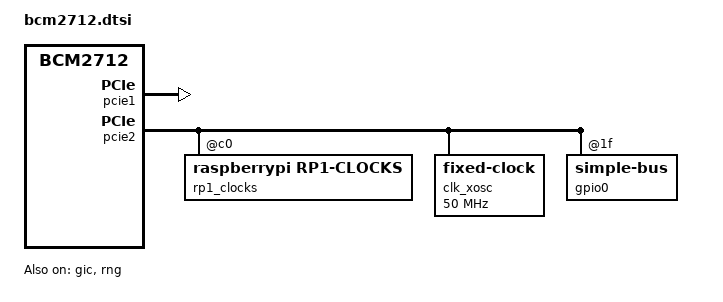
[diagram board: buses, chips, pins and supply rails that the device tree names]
/*
 * Copyright 2024 Myeonghyeon Park <myeonghyeon@tsnlab.com>
 *
 * SPDX-License-Identifier: Apache-2.0
 */

#include <arm64/armv8-a.dtsi>
#include <zephyr/dt-bindings/interrupt-controller/arm-gic.h>
#include <zephyr/dt-bindings/clock/rp1_clocks.h>

/ {
	cpus {
		#address-cells = <1>;
		#size-cells = <0>;

		cpu@0 {
			device_type = "cpu";
			compatible = "arm,cortex-a76";
			reg = <0>;
		};
	};

	interrupt-parent = <&gic>;

	timer {
		compatible = "arm,armv8-timer";
		interrupts = <GIC_PPI 13 IRQ_TYPE_LEVEL
			      IRQ_DEFAULT_PRIORITY>,
			     <GIC_PPI 14 IRQ_TYPE_LEVEL
			      IRQ_DEFAULT_PRIORITY>,
			     <GIC_PPI 11 IRQ_TYPE_LEVEL
			      IRQ_DEFAULT_PRIORITY>,
			     <GIC_PPI 10 IRQ_TYPE_LEVEL
			      IRQ_DEFAULT_PRIORITY>;
	};

	soc {
		#address-cells = <2>;
		#size-cells = <1>;

		sram0: memory@200000 {
			device_type = "memory";
			compatible = "mmio-sram";
			reg = <0x0 0x200000 0x80000>;
		};

		gic: interrupt-controller@107fff9000 {
			compatible = "arm,gic-v2", "arm,gic";
			reg = <0x10 0x7fff9000 0x1000>,
			      <0x10 0x7fffa000 0x2000>;
			interrupt-controller;
			#interrupt-cells = <4>;
			status = "okay";
		};

		rng: rng@107d208000 {
			compatible = "brcm,iproc-rng200";
			reg = <0x10 0x7d208000 0x28>;
			status = "okay";
		};

		gpio2@107d517c00 {
			compatible = "simple-bus";
			reg = <0x10 0x7d517c00 0x40>;

			#address-cells = <1>;
			#size-cells = <0>;

			gio_aon: gpio@0 {
				compatible = "brcm,brcmstb-gpio";
				reg = <0>;
				gpio-controller;
				#gpio-cells = <2>;
				ngpios = <17>;
				status = "disabled";
			};
		};

		uart10: serial@107d001000 {
			compatible = "arm,pl011";
			reg = <0x10 0x7d001000 0x200>;
			interrupts = <GIC_SPI 121 IRQ_TYPE_LEVEL
				      IRQ_DEFAULT_PRIORITY>;
			interrupt-names = "irq_121";
			clocks = <&clk_uart>;
			status = "disabled";
		};
	};

	clocks {
		clk_uart: clk_uart {
			compatible = "fixed-clock";
			clock-frequency = <44236800>;
			#clock-cells = <0>;
		};
	};

	axi {
		#address-cells = <2>;
		#size-cells = <1>;

		pcie1: pcie@1000110000 {
			compatible = "brcm,brcmstb-pcie";
			reg = <0x10 0x110000 0x9310>,
			      <0x0 0x0 0x8000000>,
			      <0x0 0x8000000 0x10000>,
			      <0x0 0x0 0x10>;
			#address-cells = <3>;
			#size-cells = <2>;
			status = "okay";
			ranges = <0x02000000 0x0 0x0 0x1b 0x0 0x00 0xfffffffc>,
				 <0x43000000 0x4 0x0 0x18 0x0 0x03 0x00000000>,
				 <0x03000000 0x0 0x0 0x10 0x0 0x10 0x00000000>;
		};

		pcie2: pcie@1000120000 {
			compatible = "brcm,brcmstb-pcie";
			reg = <0x10 0x120000 0x9310>,
			      <0x0 0x410000 0x4000>,
			      <0x0 0x0 0x400000>,
			      <0x0 0x400000 0x4000>;
			#address-cells = <3>;
			#size-cells = <2>;
			ranges = <0x02000000 0x0 0x0 0x1f 0x0 0x00 0xfffffffc>,
				 <0x43000000 0x4 0x0 0x1c 0x0 0x03 0x00000000>,
				 <0x02000000 0x0 0x0 0x1f 0x0 0x00 0x00400000>;
			status = "okay";

			rp1 {
				#address-cells = <2>;
				#size-cells = <1>;

				rp1_clocks: clocks@18000 {
					compatible = "raspberrypi,rp1-clocks";
					#clock-cells = <1>;
					reg = <0xc0 0x40018000 0x10038>;
					clocks = <&clk_xosc>;

					assigned-clocks = <&rp1_clocks RP1_PLL_SYS_CORE>,
							<&rp1_clocks RP1_PLL_AUDIO_CORE>,
							// RP1_PLL_VIDEO_CORE and dividers are now managed by VEC,DPI drivers
							<&rp1_clocks RP1_PLL_SYS>,
							<&rp1_clocks RP1_PLL_SYS_SEC>,
							<&rp1_clocks RP1_CLK_ETH>,
							<&rp1_clocks RP1_PLL_AUDIO>,
							<&rp1_clocks RP1_PLL_AUDIO_SEC>,
							<&rp1_clocks RP1_CLK_SYS>,
							<&rp1_clocks RP1_PLL_SYS_PRI_PH>,
							// RP1_CLK_SLOW_SYS is used for the frequency counter (FC0)
							<&rp1_clocks RP1_CLK_SLOW_SYS>,
							<&rp1_clocks RP1_CLK_SDIO_TIMER>,
							<&rp1_clocks RP1_CLK_SDIO_ALT_SRC>,
							<&rp1_clocks RP1_CLK_ETH_TSU>;

					assigned-clock-rates = <1000000000>, // RP1_PLL_SYS_CORE
								<1536000000>, // RP1_PLL_AUDIO_CORE
								<200000000>,  // RP1_PLL_SYS
								<125000000>,  // RP1_PLL_SYS_SEC
								<125000000>,  // RP1_CLK_ETH
								<61440000>,   // RP1_PLL_AUDIO
								<153600000>,  // RP1_PLL_AUDIO_SEC
								<200000000>,  // RP1_CLK_SYS
								<100000000>,  // RP1_PLL_SYS_PRI_PH
								// Must match the XOSC frequency
								<50000000>, // RP1_CLK_SLOW_SYS
								<1000000>, // RP1_CLK_SDIO_TIMER
								<200000000>, // RP1_CLK_SDIO_ALT_SRC
								<50000000>; // RP1_CLK_ETH_TSU
				};

				clocks {
					clk_xosc: clk_xosc {
						compatible = "fixed-clock";
						#clock-cells = <0>;
						// clock-output-names = "xosc";
						clock-frequency = <50000000>;
					};	
				};

				rp1_uart0: serial@1f00030000 {
					compatible = "arm,pl011";
					reg = <0x1f 0x30000 0x100>;
					// interrupts = <RP1_INT_UART0 IRQ_TYPE_LEVEL_HIGH>;
					clocks = <&rp1_clocks RP1_CLK_UART &rp1_clocks RP1_PLL_SYS_PRI_PH>;
					clock-names = "uartclk", "apb_pclk";
					// dmas = <&rp1_dma RP1_DMA_UART0_TX>,
						// <&rp1_dma RP1_DMA_UART0_RX>;
					// dma-names = "tx", "rx";
					// pinctrl-names = "default";
					// arm,primecell-periphid = <0x00541011>;
					// uart-has-rtscts;
					// cts-event-workaround;
					// skip-init;
					status = "disabled";
				};

				gpio0: gpio@1f000d0000 {
					compatible = "simple-bus";
					reg = <0x1f 0xd0000 0x30000>;
					#address-cells = <1>;
					#size-cells = <0>;

					gpio0_0: gpio@0 {
						compatible = "raspberrypi,rp1-gpio";
						reg = <0x0 0x10000 0x20000>;
						#gpio-cells = <2>;
						gpio-controller;
						ngpios = <28>;
						status = "disabled";
					};

					gpio0_1: gpio@4000 {
						compatible = "raspberrypi,rp1-gpio";
						reg = <0x4000 0x14000 0x24000>;
						#gpio-cells = <2>;
						gpio-controller;
						ngpios = <6>;
						status = "disabled";
					};

					gpio0_2: gpio@8000 {
						compatible = "raspberrypi,rp1-gpio";
						reg = <0x8000 0x18000 0x28000>;
						#gpio-cells = <2>;
						gpio-controller;
						ngpios = <20>;
						status = "disabled";
					};
				};
			};
		};
	};
};
